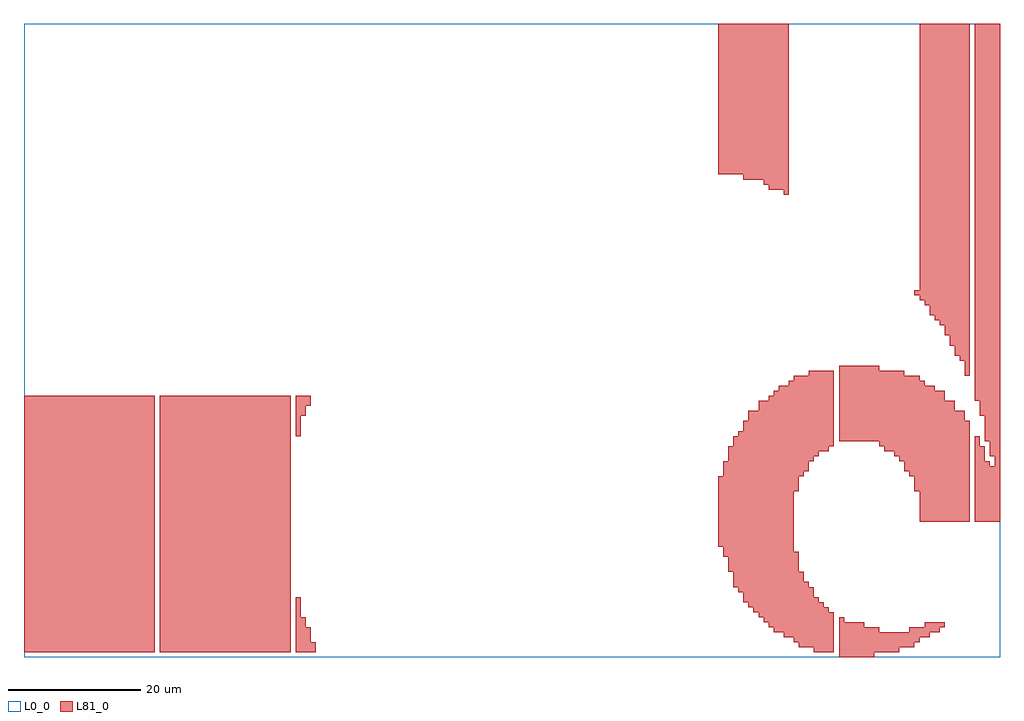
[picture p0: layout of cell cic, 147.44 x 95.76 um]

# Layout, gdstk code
import gdstk
lib = gdstk.Library(unit=1e-6, precision=1e-09)
def R(c, l, rs):  # rectangles x0, y0, x1, y1
    for r in rs: c.add(gdstk.rectangle(r[:2], r[2:], *l))
def P(c, l, *ps):  # polygons
    for p in ps: c.add(gdstk.Polygon(p, *l))
L0_0 = (0, 0)
L81_0 = (81, 0)

cic = lib.new_cell('cic')
R(cic, L0_0, [(0,0,147.44,95.76)])
R(cic, L81_0, [(0,0.76,19.76,39.52), (20.52,0.76,40.28,39.52)])
P(cic, L81_0, [(123.12,0),(123.12,6.08),(123.88,6.08),(123.88,5.32),(126.92,5.32),(126.92,4.56),(129.2,4.56),(129.2,3.8),(133.76,3.8),(133.76,4.56),(136.04,4.56),(136.04,5.32),(139.08,5.32),(139.08,4.56),(138.32,4.56),(138.32,3.8),(136.8,3.8),(136.8,3.04),(135.28,3.04),(135.28,2.28),(134.52,2.28),(134.52,1.52),(132.24,1.52),(132.24,0.76),(128.44,0.76),(128.44,0)],
  [(41.04,0.76),(41.04,9.12),(41.8,9.12),(41.8,6.08),(42.56,6.08),(42.56,4.56),(43.32,4.56),(43.32,2.28),(44.08,2.28),(44.08,0.76)],
  [(41.04,33.44),(41.04,39.52),(43.32,39.52),(43.32,38),(42.56,38),(42.56,36.48),(41.8,36.48),(41.8,33.44)],
  [(119.32,0.76),(119.32,1.52),(117.04,1.52),(117.04,2.28),(116.28,2.28),(116.28,3.04),(114.76,3.04),(114.76,3.8),(113.24,3.8),(113.24,4.56),(112.48,4.56),(112.48,5.32),(111.72,5.32),(111.72,6.08),(110.96,6.08),(110.96,6.84),(110.2,6.84),(110.2,7.6),(109.44,7.6),(109.44,8.36),(108.68,8.36),(108.68,9.88),(107.92,9.88),(107.92,10.64),(107.16,10.64),(107.16,12.92),(106.4,12.92),(106.4,15.2),(105.64,15.2),(105.64,16.72),(104.88,16.72),(104.88,27.36),(105.64,27.36),(105.64,29.64),(106.4,29.64),(106.4,31.92),(107.16,31.92),(107.16,33.44),(107.92,33.44),(107.92,34.2),(108.68,34.2),(108.68,35.72),(109.44,35.72),(109.44,37.24),(110.96,37.24),(110.96,38.76),(112.48,38.76),(112.48,39.52),(113.24,39.52),(113.24,40.28),(114,40.28),(114,41.04),(115.52,41.04),(115.52,41.8),(116.28,41.8),(116.28,42.56),(118.56,42.56),(118.56,43.32),(122.36,43.32),(122.36,31.92),(121.6,31.92),(121.6,31.16),(120.08,31.16),(120.08,30.4),(119.32,30.4),(119.32,29.64),(118.56,29.64),(118.56,28.12),(117.8,28.12),(117.8,27.36),(117.04,27.36),(117.04,25.08),(116.28,25.08),(116.28,15.96),(117.04,15.96),(117.04,12.92),(117.8,12.92),(117.8,11.4),(118.56,11.4),(118.56,10.64),(119.32,10.64),(119.32,9.12),(120.08,9.12),(120.08,8.36),(120.84,8.36),(120.84,7.6),(121.6,7.6),(121.6,6.84),(122.36,6.84),(122.36,0.76)],
  [(135.28,20.52),(135.28,25.08),(134.52,25.08),(134.52,27.36),(133.76,27.36),(133.76,28.12),(133,28.12),(133,29.64),(132.24,29.64),(132.24,30.4),(131.48,30.4),(131.48,31.16),(129.96,31.16),(129.96,31.92),(129.2,31.92),(129.2,32.68),(123.12,32.68),(123.12,44.08),(129.2,44.08),(129.2,43.32),(133,43.32),(133,42.56),(135.28,42.56),(135.28,41.8),(136.04,41.8),(136.04,41.04),(137.56,41.04),(137.56,40.28),(139.08,40.28),(139.08,38.76),(140.6,38.76),(140.6,37.24),(142.12,37.24),(142.12,35.72),(142.88,35.72),(142.88,20.52)],
  [(114.76,69.92),(114.76,70.68),(112.48,70.68),(112.48,71.44),(111.72,71.44),(111.72,72.2),(108.68,72.2),(108.68,72.96),(104.88,72.96),(104.88,95.76),(115.52,95.76),(115.52,69.92)],
  [(142.12,42.56),(142.12,44.84),(141.36,44.84),(141.36,45.6),(140.6,45.6),(140.6,47.12),(139.84,47.12),(139.84,48.64),(139.08,48.64),(139.08,50.16),(138.32,50.16),(138.32,50.92),(137.56,50.92),(137.56,51.68),(136.8,51.68),(136.8,53.2),(136.04,53.2),(136.04,53.96),(135.28,53.96),(135.28,54.72),(134.52,54.72),(134.52,55.48),(135.28,55.48),(135.28,95.76),(142.88,95.76),(142.88,42.56)],
  [(143.64,20.52),(143.64,33.44),(144.4,33.44),(144.4,31.92),(145.16,31.92),(145.16,29.64),(145.92,29.64),(145.92,28.88),(146.68,28.88),(146.68,30.4),(145.92,30.4),(145.92,32.68),(145.16,32.68),(145.16,36.48),(144.4,36.48),(144.4,38.76),(143.64,38.76),(143.64,95.76),(147.44,95.76),(147.44,20.52)])

lib.write_gds('cic.gds')
